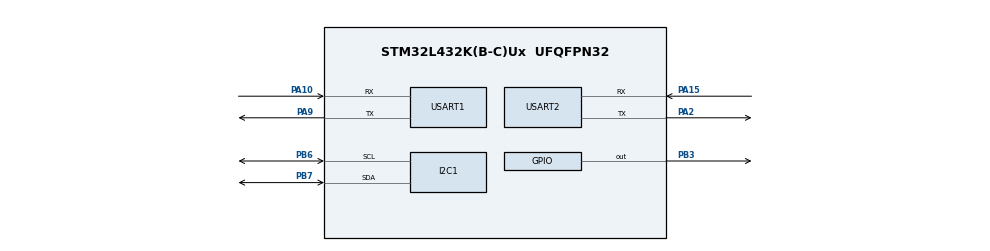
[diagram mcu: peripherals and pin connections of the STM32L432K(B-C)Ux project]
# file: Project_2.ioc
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Mcu.Family=STM32L4
Mcu.Name=STM32L432K(B-C)Ux
Mcu.Package=UFQFPN32
NVIC.PriorityGroup=NVIC_PRIORITYGROUP_4
PA10.Mode=Asynchronous
PA10.Signal=USART1_RX
PA13\ (JTMS-SWDIO).Mode=Serial_Wire
PA13\ (JTMS-SWDIO).Signal=SYS_JTMS-SWDIO
PA14\ (JTCK-SWCLK).Mode=Serial_Wire
PA14\ (JTCK-SWCLK).Signal=SYS_JTCK-SWCLK
PA15\ (JTDI).Mode=Asynchronous
PA15\ (JTDI).Signal=USART2_RX
PA2.Mode=Asynchronous
PA2.Signal=USART2_TX
PA9.Mode=Asynchronous
PA9.Signal=USART1_TX
PB3\ (JTDO-TRACESWO).Signal=GPIO_Output
PB6.Mode=I2C
PB6.Signal=I2C1_SCL
PB7.Mode=I2C
PB7.Signal=I2C1_SDA
ProjectManager.HeapSize=0x200
ProjectManager.StackSize=0x400
ProjectManager.TargetToolchain=MDK-ARM V5.27
RCC.HSE_VALUE=8000000
RCC.HSI48_VALUE=48000000
RCC.HSI_VALUE=16000000
RCC.LSE_VALUE=32768
RCC.MSI_VALUE=4000000
RCC.VCOOutputFreq_Value=32000000
USART1.VirtualMode-Asynchronous=VM_ASYNC
USART2.VirtualMode-Asynchronous=VM_ASYNC
board=custom

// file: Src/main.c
/* USER CODE BEGIN Header */
/**
  ******************************************************************************
  * @file           : main.c
  * @brief          : Main program body
  ******************************************************************************
  * @attention
  *
  * <h2><center>&copy; Copyright (c) 2020 STMicroelectronics.
  * All rights reserved.</center></h2>
  *
  * This software component is licensed by ST under BSD 3-Clause license,
  * the "License"; You may not use this file except in compliance with the
  * License. You may obtain a copy of the License at:
  *                        opensource.org/licenses/BSD-3-Clause
  *
  ******************************************************************************
  */
/* USER CODE END Header */

#include "main.h"

I2C_HandleTypeDef hi2c1;

UART_HandleTypeDef huart1;
UART_HandleTypeDef huart2;

void SystemClock_Config(void);
static void MX_GPIO_Init(void);
static void MX_I2C1_Init(void);
static void MX_USART1_UART_Init(void);
static void MX_USART2_UART_Init(void);

/* USER CODE BEGIN 0 */
uint8_t hexToAscii(uint8_t n)//4-bit hex value converted to an ascii character
{
 if (n>=0 && n<=9) n = n + '0';
 else n = n - 10 + 'A';
 return n;
}

/* USER CODE END 0 */

int main(void)
{

  /* MCU Configuration--------------------------------------------------------*/

  /* Reset of all peripherals, Initializes the Flash interface and the Systick. */
  HAL_Init();

  /* Configure the system clock */
  SystemClock_Config();

  /* Initialize all configured peripherals */
  MX_GPIO_Init();
  MX_I2C1_Init();
  MX_USART1_UART_Init();
  MX_USART2_UART_Init();
  /* USER CODE BEGIN 2 */
	 if (HAL_I2C_IsDeviceReady(&hi2c1, 0xD0, 10, HAL_MAX_DELAY) == HAL_OK)
	 {
		 for (int i = 1; i<=10;i++) // indicator of ready device
		 {
			 HAL_GPIO_TogglePin(GPIOB, GPIO_PIN_3);
			 HAL_Delay(250);
		 }
	 }

	 //Transmit via I2C to set clock
	 uint8_t secbuffer [2], minbuffer [2], hourbuffer [2], daybuffer[2], datebuffer[2], yearbuffer[2], monthbuffer[2];

	 // seconds
	 secbuffer[0] = 0x00; //register address
	 secbuffer[1] = 0x00; //data to put in register --> 0 sec
	 HAL_I2C_Master_Transmit(&hi2c1, 0xD0, secbuffer, 2, 10);

	 // minutes
	 minbuffer[0] = 0x01; //register address
	 minbuffer[1] = 0x00; //data to put in register --> 00 min
	 HAL_I2C_Master_Transmit(&hi2c1, 0xD0, minbuffer, 2, 10);

	 // hours
	 hourbuffer[0] = 0x02; //register address
	 hourbuffer[1] = 0x11; //data to put in register 11 pm
	 HAL_I2C_Master_Transmit(&hi2c1, 0xD0, hourbuffer, 2, 10);

	 // day
	 daybuffer[0] = 0x03; //register address
	 daybuffer[1] = 0x04; //data to put in register 4
	 HAL_I2C_Master_Transmit(&hi2c1, 0xD0, daybuffer, 2, 10);

	 // date
	 datebuffer[0] = 0x04; //register address
	 datebuffer[1] = 0x27; //data to put in register 27
	 HAL_I2C_Master_Transmit(&hi2c1, 0xD0, datebuffer, 2, 10);

	 // month
	 monthbuffer[0] = 0x05; //register address
	 monthbuffer[1] = 0x05; //data to put in register 5
	 HAL_I2C_Master_Transmit(&hi2c1, 0xD0, monthbuffer, 2, 10);

	 // year
	 yearbuffer[0] = 0x06; //register address
	 yearbuffer[1] = 0x20; //data to put in register 20
	 HAL_I2C_Master_Transmit(&hi2c1, 0xD0, yearbuffer, 2, 10);

	//Receive via I2C and forward to UART
	 uint8_t out[] = {0,0,',',0,0,'/',0,0,'/',0,0,' ',0,0,':',0,0,':',0,0,'\r','\n'};

  /* USER CODE END 2 */

  /* Infinite loop */
  /* USER CODE BEGIN WHILE */
	char data;
  while (1)
  {

    /* USER CODE BEGIN 3 */

		//send seconds register address 00h to read from
	  HAL_I2C_Master_Transmit(&hi2c1, 0xD0, secbuffer, 1, 10);
	  //read data of register 00h to secbuffer[1]
	  HAL_I2C_Master_Receive(&hi2c1, 0xD1, secbuffer+1, 1, 10);
	  //prepare UART output
	  out[18] = hexToAscii(secbuffer[1] >> 4 );
	  out[19] = hexToAscii(secbuffer[1] & 0x0F );

	  HAL_I2C_Master_Transmit(&hi2c1, 0xD0, minbuffer, 1, 10);
	  HAL_I2C_Master_Receive(&hi2c1, 0xD1, minbuffer+1, 1, 10);
	  out[15] = hexToAscii(minbuffer[1] >> 4 );
	  out[16] = hexToAscii(minbuffer[1] & 0x0F );

	  HAL_I2C_Master_Transmit(&hi2c1, 0xD0, hourbuffer, 1, 10);
	  HAL_I2C_Master_Receive(&hi2c1, 0xD1, hourbuffer+1, 1, 10);
	  out[12] = hexToAscii(hourbuffer[1] >> 4 );
	  out[13] = hexToAscii(hourbuffer[1] & 0x0F);

		HAL_I2C_Master_Transmit(&hi2c1, 0xD0, yearbuffer, 1, 10);
	  HAL_I2C_Master_Receive(&hi2c1, 0xD1, yearbuffer+1, 1, 10);
	  out[9] = hexToAscii(yearbuffer[1] >> 4 );
	  out[10] = hexToAscii(yearbuffer[1] & 0x0F);

		HAL_I2C_Master_Transmit(&hi2c1, 0xD0, monthbuffer, 1, 10);
	  HAL_I2C_Master_Receive(&hi2c1, 0xD1, monthbuffer+1, 1, 10);
	  out[6] = hexToAscii(monthbuffer[1] >> 4 );
	  out[7] = hexToAscii(monthbuffer[1] & 0x0F);

		HAL_I2C_Master_Transmit(&hi2c1, 0xD0, datebuffer, 1, 10);
	  HAL_I2C_Master_Receive(&hi2c1, 0xD1, datebuffer+1, 1, 10);
	  out[3] = hexToAscii(datebuffer[1] >> 4 );
	  out[4] = hexToAscii(datebuffer[1] & 0x0F);

		HAL_I2C_Master_Transmit(&hi2c1, 0xD0, daybuffer, 1, 10);
	  HAL_I2C_Master_Receive(&hi2c1, 0xD1, daybuffer+1, 1, 10);
	  out[0] = hexToAscii(daybuffer[1] >> 4 );
	  out[1] = hexToAscii(daybuffer[1] & 0x0F);

		HAL_UART_Receive(&huart1,&data, sizeof(data), 1);

		//turn LED on
		if(data=='Q'){
			HAL_GPIO_WritePin(GPIOB,GPIO_PIN_3,GPIO_PIN_SET);
			HAL_UART_Transmit(&huart2,&data, sizeof(data), 10);
			data='0';
		}
		//turn LED off
		else if(data=='Z'){
			HAL_GPIO_WritePin(GPIOB,GPIO_PIN_3,GPIO_PIN_RESET);
			HAL_UART_Transmit(&huart2,&data, sizeof(data), 10);
			data='0';
		}
		//retrieve date&time
		else if(data=='Y'){
			HAL_UART_Transmit(&huart2,out, sizeof(out), 10);
			HAL_UART_Transmit(&huart1,out, sizeof(out), 10);
			HAL_UART_Transmit(&huart2,&data, sizeof(data), 10);
			data='0';
		}

    /* USER CODE END WHILE */

  }
}

void SystemClock_Config(void)
{
  RCC_OscInitTypeDef RCC_OscInitStruct = {0};
  RCC_ClkInitTypeDef RCC_ClkInitStruct = {0};
  RCC_PeriphCLKInitTypeDef PeriphClkInit = {0};

  /** Initializes the CPU, AHB and APB busses clocks
  */
  RCC_OscInitStruct.OscillatorType = RCC_OSCILLATORTYPE_MSI;
  RCC_OscInitStruct.MSIState = RCC_MSI_ON;
  RCC_OscInitStruct.MSICalibrationValue = 0;
  RCC_OscInitStruct.MSIClockRange = RCC_MSIRANGE_6;
  RCC_OscInitStruct.PLL.PLLState = RCC_PLL_NONE;
  if (HAL_RCC_OscConfig(&RCC_OscInitStruct) != HAL_OK)
  {
    Error_Handler();
  }
  /** Initializes the CPU, AHB and APB busses clocks
  */
  RCC_ClkInitStruct.ClockType = RCC_CLOCKTYPE_HCLK|RCC_CLOCKTYPE_SYSCLK
                              |RCC_CLOCKTYPE_PCLK1|RCC_CLOCKTYPE_PCLK2;
  RCC_ClkInitStruct.SYSCLKSource = RCC_SYSCLKSOURCE_MSI;
  RCC_ClkInitStruct.AHBCLKDivider = RCC_SYSCLK_DIV1;
  RCC_ClkInitStruct.APB1CLKDivider = RCC_HCLK_DIV1;
  RCC_ClkInitStruct.APB2CLKDivider = RCC_HCLK_DIV1;

  if (HAL_RCC_ClockConfig(&RCC_ClkInitStruct, FLASH_LATENCY_0) != HAL_OK)
  {
    Error_Handler();
  }
  PeriphClkInit.PeriphClockSelection = RCC_PERIPHCLK_USART1|RCC_PERIPHCLK_USART2
                              |RCC_PERIPHCLK_I2C1;
  PeriphClkInit.Usart1ClockSelection = RCC_USART1CLKSOURCE_PCLK2;
  PeriphClkInit.Usart2ClockSelection = RCC_USART2CLKSOURCE_PCLK1;
  PeriphClkInit.I2c1ClockSelection = RCC_I2C1CLKSOURCE_PCLK1;
  if (HAL_RCCEx_PeriphCLKConfig(&PeriphClkInit) != HAL_OK)
  {
    Error_Handler();
  }
  /** Configure the main internal regulator output voltage
  */
  if (HAL_PWREx_ControlVoltageScaling(PWR_REGULATOR_VOLTAGE_SCALE1) != HAL_OK)
  {
    Error_Handler();
  }
}

static void MX_I2C1_Init(void)
{

  hi2c1.Instance = I2C1;
  hi2c1.Init.Timing = 0x00000E14;
  hi2c1.Init.OwnAddress1 = 0;
  hi2c1.Init.AddressingMode = I2C_ADDRESSINGMODE_7BIT;
  hi2c1.Init.DualAddressMode = I2C_DUALADDRESS_DISABLE;
  hi2c1.Init.OwnAddress2 = 0;
  hi2c1.Init.OwnAddress2Masks = I2C_OA2_NOMASK;
  hi2c1.Init.GeneralCallMode = I2C_GENERALCALL_DISABLE;
  hi2c1.Init.NoStretchMode = I2C_NOSTRETCH_DISABLE;
  if (HAL_I2C_Init(&hi2c1) != HAL_OK)
  {
    Error_Handler();
  }
  /** Configure Analogue filter
  */
  if (HAL_I2CEx_ConfigAnalogFilter(&hi2c1, I2C_ANALOGFILTER_ENABLE) != HAL_OK)
  {
    Error_Handler();
  }
  /** Configure Digital filter
  */
  if (HAL_I2CEx_ConfigDigitalFilter(&hi2c1, 0) != HAL_OK)
  {
    Error_Handler();
  }

}

static void MX_USART1_UART_Init(void)
{

  huart1.Instance = USART1;
  huart1.Init.BaudRate = 115200;
  huart1.Init.WordLength = UART_WORDLENGTH_8B;
  huart1.Init.StopBits = UART_STOPBITS_1;
  huart1.Init.Parity = UART_PARITY_NONE;
  huart1.Init.Mode = UART_MODE_TX_RX;
  huart1.Init.HwFlowCtl = UART_HWCONTROL_NONE;
  huart1.Init.OverSampling = UART_OVERSAMPLING_16;
  huart1.Init.OneBitSampling = UART_ONE_BIT_SAMPLE_DISABLE;
  huart1.AdvancedInit.AdvFeatureInit = UART_ADVFEATURE_NO_INIT;
  if (HAL_UART_Init(&huart1) != HAL_OK)
  {
    Error_Handler();
  }

}

static void MX_USART2_UART_Init(void)
{

  huart2.Instance = USART2;
  huart2.Init.BaudRate = 115200;
  huart2.Init.WordLength = UART_WORDLENGTH_8B;
  huart2.Init.StopBits = UART_STOPBITS_1;
  huart2.Init.Parity = UART_PARITY_NONE;
  huart2.Init.Mode = UART_MODE_TX_RX;
  huart2.Init.HwFlowCtl = UART_HWCONTROL_NONE;
  huart2.Init.OverSampling = UART_OVERSAMPLING_16;
  huart2.Init.OneBitSampling = UART_ONE_BIT_SAMPLE_DISABLE;
  huart2.AdvancedInit.AdvFeatureInit = UART_ADVFEATURE_NO_INIT;
  if (HAL_UART_Init(&huart2) != HAL_OK)
  {
    Error_Handler();
  }

}

static void MX_GPIO_Init(void)
{
  GPIO_InitTypeDef GPIO_InitStruct = {0};

  /* GPIO Ports Clock Enable */
  __HAL_RCC_GPIOA_CLK_ENABLE();
  __HAL_RCC_GPIOB_CLK_ENABLE();

  /*Configure GPIO pin Output Level */
  HAL_GPIO_WritePin(GPIOB, GPIO_PIN_3, GPIO_PIN_RESET);

  /*Configure GPIO pin : PB3 */
  GPIO_InitStruct.Pin = GPIO_PIN_3;
  GPIO_InitStruct.Mode = GPIO_MODE_OUTPUT_PP;
  GPIO_InitStruct.Pull = GPIO_NOPULL;
  GPIO_InitStruct.Speed = GPIO_SPEED_FREQ_LOW;
  HAL_GPIO_Init(GPIOB, &GPIO_InitStruct);

}

void Error_Handler(void)
{
}

/************************ (C) COPYRIGHT STMicroelectronics *****END OF FILE****/
